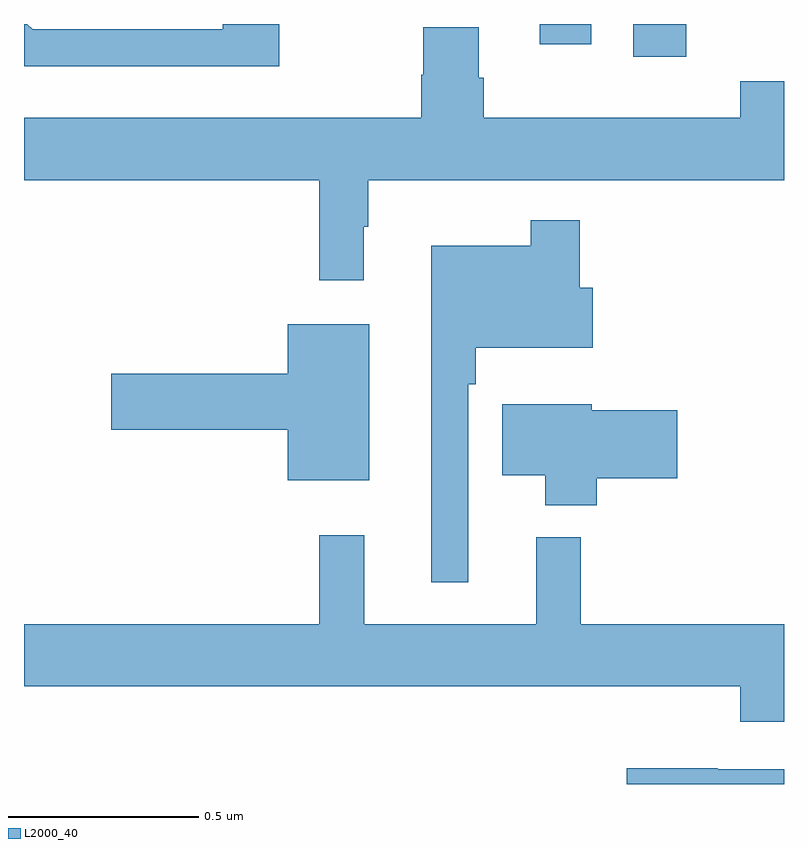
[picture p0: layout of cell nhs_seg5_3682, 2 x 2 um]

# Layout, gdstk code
import gdstk
lib = gdstk.Library(unit=1e-6, precision=1e-09)
def R(c, l, rs):  # rectangles x0, y0, x1, y1
    for r in rs: c.add(gdstk.rectangle(r[:2], r[2:], *l))
def P(c, l, *ps):  # polygons
    for p in ps: c.add(gdstk.Polygon(p, *l))
L2000_40 = (2000, 40)

nhs_seg5_3682 = lib.new_cell('nhs_seg5_3682')
R(nhs_seg5_3682, L2000_40, [(161.603,895.713,161.743,895.799), (161.357,895.746,161.493,895.799)])
P(nhs_seg5_3682, L2000_40, [(160.672,895.798),(160.62,895.798),(160.62,895.799),(160.523,895.799),(160.523,895.785),(160.023,895.785),(160.009,895.799),(160,895.799),(160,895.688),(160.672,895.688)],
  [(160.894,895.265),(160.906,895.265),(160.906,895.388),(162,895.388),(162,895.648),(161.885,895.648),(161.885,895.552),(161.21,895.552),(161.21,895.658),(161.197,895.658),(161.197,895.79),(161.05,895.79),(161.05,895.665),(161.045,895.665),(161.045,895.552),(160,895.552),(160,895.388),(160.777,895.388),(160.777,895.125),(160.894,895.125)],
  [(161.169,894.851),(161.189,894.851),(161.189,894.947),(161.497,894.947),(161.497,895.105),(161.462,895.105),(161.462,895.282),(161.334,895.282),(161.334,895.216),(161.072,895.216),(161.072,894.33),(161.169,894.33)],
  [(160.909,895.009),(160.694,895.009),(160.694,894.878),(160.23,894.878),(160.23,894.731),(160.694,894.731),(160.694,894.599),(160.909,894.599)],
  [(161.507,894.604),(161.719,894.604),(161.719,894.782),(161.494,894.782),(161.494,894.799),(161.258,894.799),(161.258,894.611),(161.372,894.611),(161.372,894.533),(161.507,894.533)],
  [(162,894.22),(161.465,894.22),(161.465,894.448),(161.348,894.448),(161.348,894.22),(160.895,894.22),(160.895,894.454),(160.777,894.454),(160.777,894.22),(160,894.22),(160,894.056),(161.885,894.056),(161.885,893.963),(162,893.963)],
  [(162,893.838),(161.826,893.838),(161.826,893.84),(161.586,893.84),(161.586,893.799),(162,893.799)])

lib.write_gds('nhs_seg5_3682.gds')
